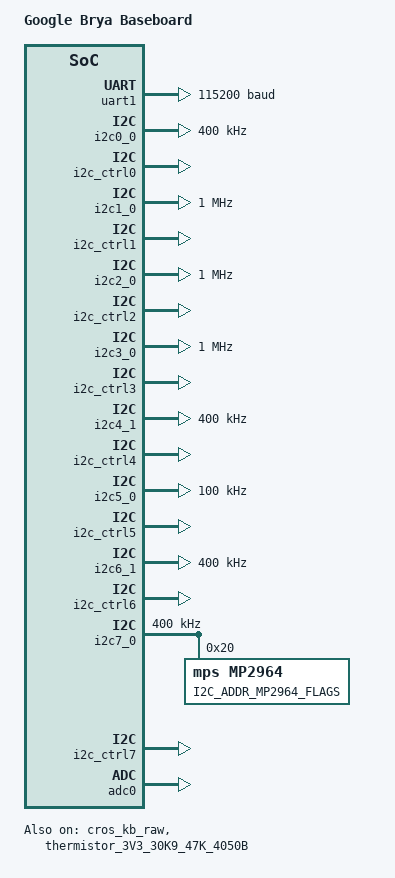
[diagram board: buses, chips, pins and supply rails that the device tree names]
/* Copyright 2021 The Chromium OS Authors. All rights reserved.
 * Use of this source code is governed by a BSD-style license that can be
 * found in the LICENSE file.
 */

/dts-v1/;

#include <cros/nuvoton/npcx9.dtsi>
#include <cros/thermistor/thermistor.dtsi>
#include <dt-bindings/gpio_defines.h>
#include <nuvoton/npcx9m3f.dtsi>

/ {
	model = "Google Brya Baseboard";

	aliases {
		i2c-0 = &i2c0_0;
		i2c-1 = &i2c1_0;
		i2c-2 = &i2c2_0;
		i2c-3 = &i2c3_0;
		i2c-4 = &i2c4_1;
		i2c-5 = &i2c5_0;
		i2c-6 = &i2c6_1;
		i2c-7 = &i2c7_0;
	};

	chosen {
		zephyr,sram = &sram0;
		zephyr,console = &uart1;
		zephyr,shell-uart = &uart1;
		zephyr,flash = &flash0;
		zephyr,flash-controller = &int_flash;
		cros,rtc = &mtc;
	};

	ec-console {
		compatible = "ec-console";
		disabled = "events", "lpc", "hostcmd";
	};

	named-i2c-ports {
		compatible = "named-i2c-ports";
		i2c_sensor: sensor {
			i2c-port = <&i2c0_0>;
			enum-name = "I2C_PORT_SENSOR";
		};
		tcpc0_2: tcpc0_2 {
			i2c-port = <&i2c1_0>;
			enum-name = "I2C_PORT_USB_C0_C2_TCPC";
		};
		tcpc1 {
			i2c-port = <&i2c4_1>;
			enum-name = "I2C_PORT_USB_C1_TCPC";
			dynamic-speed;
		};
		ppc0_2: ppc0_2 {
			i2c-port = <&i2c2_0>;
			enum-name = "I2C_PORT_USB_C0_C2_PPC";
		};
		ppc1: ppc1 {
			i2c-port = <&i2c6_1>;
			enum-name = "I2C_PORT_USB_C1_PPC";
			dynamic-speed;
		};
		retimer0_2 {
			i2c-port = <&i2c3_0>;
			enum-name = "I2C_PORT_USB_C0_C2_MUX";
		};
		battery {
			i2c-port = <&i2c5_0>;
			enum-name = "I2C_PORT_BATTERY";
		};
		eeprom {
			i2c-port = <&i2c7_0>;
			enum-name = "I2C_PORT_EEPROM";
		};
		charger {
			i2c-port = <&i2c7_0>;
			enum-name = "I2C_PORT_CHARGER";
		};
		c1_bc12: c1_bc12 {
			i2c-port = <&i2c6_1>;
			enum-name = "I2C_PORT_USB_C1_BC12";
		};
		c0_c2_bc12: c0_c2_bc12 {
			i2c-port = <&i2c2_0>;
			enum-name = "I2C_PORT_USB_C0_C2_BC12";
		};
		mp2964 {
			i2c-port = <&i2c7_0>;
			enum-name = "I2C_PORT_MP2964";
		};
	};

	named-adc-channels {
		compatible = "named-adc-channels";

		adc_ddr_soc: ddr_soc {
			label = "TEMP_DDR_SOC";
			enum-name = "ADC_TEMP_SENSOR_1_DDR_SOC";
			io-channels = <&adc0 0>;
		};
		adc_ambient: ambient {
			label = "TEMP_AMBIENT";
			enum-name = "ADC_TEMP_SENSOR_2_AMBIENT";
			io-channels = <&adc0 1>;
		};
		adc_charger: charger {
			label = "TEMP_CHARGER";
			enum-name = "ADC_TEMP_SENSOR_3_CHARGER";
			io-channels = <&adc0 6>;
		};
		adc_wwan: wwan {
			label = "TEMP_WWAN";
			enum-name = "ADC_TEMP_SENSOR_4_WWAN";
			io-channels = <&adc0 7>;
		};
	};

	named-temp-sensors {
		ddr_soc {
			compatible = "cros-ec,temp-sensor-thermistor",
				     "cros-ec,temp-sensor";
			thermistor = <&thermistor_3V3_30K9_47K_4050B>;
			label = "DDR and SOC";
			enum-name = "TEMP_SENSOR_1_DDR_SOC";
			temp_fan_off = <35>;
			temp_fan_max = <60>;
			temp_host_high = <85>;
			temp_host_halt = <90>;
			temp_host_release_high = <80>;
			adc = <&adc_ddr_soc>;
		};
		ambient {
			compatible = "cros-ec,temp-sensor-thermistor",
				     "cros-ec,temp-sensor";
			thermistor = <&thermistor_3V3_30K9_47K_4050B>;
			label = "Ambient";
			enum-name = "TEMP_SENSOR_2_AMBIENT";
			temp_fan_off = <35>;
			temp_fan_max = <60>;
			temp_host_high = <85>;
			temp_host_halt = <90>;
			temp_host_release_high = <80>;
			adc = <&adc_ambient>;
		};
		charger {
			compatible = "cros-ec,temp-sensor-thermistor",
				     "cros-ec,temp-sensor";
			thermistor = <&thermistor_3V3_30K9_47K_4050B>;
			label = "Charger";
			enum-name = "TEMP_SENSOR_3_CHARGER";
			temp_fan_off = <35>;
			temp_fan_max = <65>;
			temp_host_high = <105>;
			temp_host_halt = <120>;
			temp_host_release_high = <90>;
			adc = <&adc_charger>;
		};
		wwan {
			compatible = "cros-ec,temp-sensor-thermistor",
				     "cros-ec,temp-sensor";
			thermistor = <&thermistor_3V3_30K9_47K_4050B>;
			label = "WWAN";
			enum-name = "TEMP_SENSOR_4_WWAN";
			temp_fan_off = <35>;
			temp_fan_max = <60>;
			temp_host_high = <130>;
			temp_host_halt = <130>;
			temp_host_release_high = <100>;
			adc = <&adc_wwan>;
		};
	};

	vsby-psl-in-list {
		/* Use PSL_IN1/2/3 as detection pins from hibernate mode */
		psl-in-pads = <&psl_in1 &psl_in2 &psl_in3>;
		status = "okay";
	};

	def-lvol-io-list {
		compatible = "nuvoton,npcx-lvolctrl-def";
	};
};

&uart1 {
	status = "okay";
	current-speed = <115200>;
	pinctrl-0 = <&altj_cr_sin1_sl2 &altj_cr_sout1_sl2>;
};

&i2c0_0 {
	status = "okay";
	clock-frequency = <I2C_BITRATE_FAST>;
};

&i2c_ctrl0 {
	status = "okay";
};

&i2c1_0 {
	status = "okay";
	clock-frequency = <I2C_BITRATE_FAST_PLUS>;
};

&i2c_ctrl1 {
	status = "okay";
};

&i2c2_0 {
	status = "okay";
	clock-frequency = <I2C_BITRATE_FAST_PLUS>;
};

&i2c_ctrl2 {
	status = "okay";
};

&i2c3_0 {
	status = "okay";
	clock-frequency = <I2C_BITRATE_FAST_PLUS>;
};

&i2c_ctrl3 {
	status = "okay";
};

&i2c4_1 {
	status = "okay";
	clock-frequency = <I2C_BITRATE_FAST>;
};

&i2c_ctrl4 {
	status = "okay";
};

&i2c5_0 {
	status = "okay";
	clock-frequency = <I2C_BITRATE_STANDARD>;
};

&i2c_ctrl5 {
	status = "okay";
};

&i2c6_1 {
	status = "okay";
	clock-frequency = <I2C_BITRATE_FAST>;
};

&i2c_ctrl6 {
	status = "okay";
};

&i2c7_0 {
	status = "okay";
	clock-frequency = <I2C_BITRATE_FAST>;

	pmic_mp2964: pmic_mp2964@20 {
		compatible = "mps,mp2964";
		reg = <0x20>;
		label = "I2C_ADDR_MP2964_FLAGS";
	};
};

&i2c_ctrl7 {
	status = "okay";
};

&cros_kb_raw {
	status = "okay";
	/* No KSO2 (it's inverted and implemented by GPIO) */
	pinctrl-0 = <&alt7_no_ksi0_sl
		     &alt7_no_ksi1_sl
		     &alt7_no_ksi2_sl
		     &alt7_no_ksi3_sl
		     &alt7_no_ksi4_sl
		     &alt7_no_ksi5_sl
		     &alt7_no_ksi6_sl
		     &alt7_no_ksi7_sl
		     &alt8_no_kso00_sl
		     &alt8_no_kso01_sl
		     &alt8_no_kso03_sl
		     &alt8_no_kso04_sl
		     &alt8_no_kso05_sl
		     &alt8_no_kso06_sl
		     &alt8_no_kso07_sl
		     &alt9_no_kso08_sl
		     &alt9_no_kso09_sl
		     &alt9_no_kso10_sl
		     &alt9_no_kso11_sl
		     &alt9_no_kso12_sl
		     &alt9_no_kso13_sl
		     &alt9_no_kso14_sl
		     >;
};

&adc0 {
	status = "okay";
};

/* Power switch logic input pads */
/* LID_OPEN_OD */
&psl_in1 {
	flag = <NPCX_PSL_RISING_EDGE>;
};

/* ACOK_EC_OD */
&psl_in2 {
	flag = <NPCX_PSL_RISING_EDGE>;
};

/* GSC_EC_PWR_BTN_ODL */
&psl_in3 {
	flag = <NPCX_PSL_FALLING_EDGE>;
};

&thermistor_3V3_30K9_47K_4050B {
	status = "okay";
};
